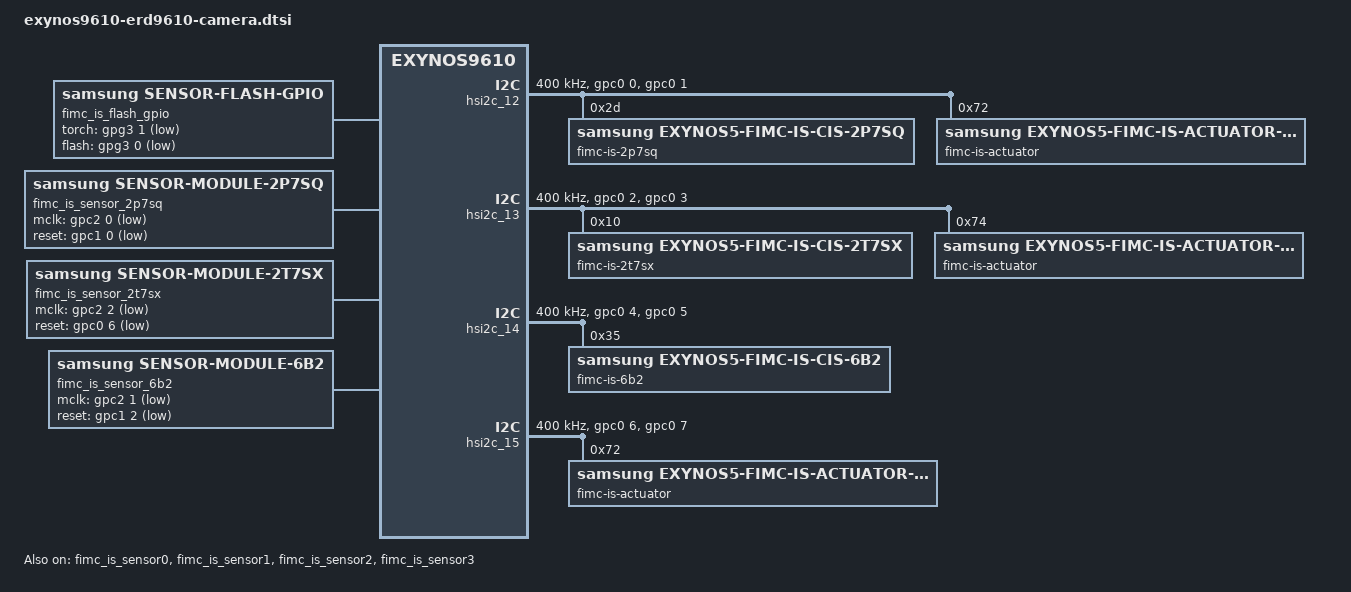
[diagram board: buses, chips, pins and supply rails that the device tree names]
/*
 * SAMSUNG EXYNOS9610 board camera device tree source
 *
 * Copyright (c) 2018 Samsung Electronics Co., Ltd.
 *		http://www.samsung.com
 *
 * This program is free software; you can redistribute it and/or modify
 * it under the terms of the GNU General Public License version 2 as
 * published by the Free Software Foundation.
 */

#include <dt-bindings/camera/fimc_is.h>

/ {
	fragment@camera {
		target-path = "/";
		__overlay__ {
			fimc_is_flash_gpio: fimc-is-flash-gpio@0 {
				compatible = "samsung,sensor-flash-gpio";
				id = <0>;
				status = "okay";

				torch-gpio = <&gpg3 1 0x1>;
				flash-gpio = <&gpg3 0 0x1>;
			};

			fimc_is_sensor_2p7sq: fimc-is_sensor_2p7sq@47 {
				compatible = "samsung,sensor-module-2p7sq";

				pinctrl-names = "pin0", "pin1", "pin2", "release";
				pinctrl-0 = <>;
				pinctrl-1 = <&fimc_is_mclk0_out>;
				pinctrl-2 = <&fimc_is_mclk0_fn>;
				pinctrl-3 = <>;

				position = <0>;	/* Rear:0. Front:1. Rear_sub:2. Secure:3. */
				id = <0>; /* fimc_is_sensor id */
				mclk_ch = <0>;
				sensor_i2c_ch = <0>; /* SENSOR_CONTROL_I2C0 */

				gpio_mclk = <&gpc2 0 0x1>;
				gpio_reset = <&gpc1 0 0x1>; /* sensor reset */

				power_seq_id = <1>; /* Rumba S6 Compatible */

				status = "okay";

				af {
					product_name = <20>; /* ACTUATOR_NAME_LC898217 */
					i2c_ch = <0>; /* SENSOR_CONTROL_I2C0 */
				};

				flash {
					product_name = <11>; /* FLASH_GPIO */
				};
			};

			fimc_is_sensor_2t7sx: fimc-is_sensor_2t7sx@48 {
				compatible = "samsung,sensor-module-2t7sx";

				pinctrl-names = "pin0", "pin1", "pin2", "release";
				pinctrl-0 = <>;
				pinctrl-1 = <&fimc_is_mclk2_out>;
				pinctrl-2 = <&fimc_is_mclk2_fn>;
				pinctrl-3 = <>;

				position = <2>;	/* Rear:0. Front:1. Rear_sub:2. Secure:3. */
				id = <2>; /* fimc_is_sensor id */
				mclk_ch = <2>;
				sensor_i2c_ch = <1>; /* SENSOR_CONTROL_I2C1 */

				gpio_mclk = <&gpc2 2 0x1>;
				gpio_reset = <&gpc0 6 0x1>; /* sensor reset */

				power_seq_id = <1>; /* Rumba S6 Compatible */

				status = "okay";

				af {
					product_name = <20>; /* ACTUATOR_NAME_LC898217 */
					i2c_ch = <1>; /* SENSOR_CONTROL_I2C1 */
				};

				flash {
					product_name = <11>; /* FLASH_GPIO */
				};
			};

			/* FRONT CAMERA */
			fimc_is_sensor_6b2: fimc-is_sensor_6b2@7 {
				compatible = "samsung,sensor-module-6b2";

				pinctrl-names = "pin0", "pin1", "pin2", "release";
				pinctrl-0 = <>;
				pinctrl-1 = <&fimc_is_mclk1_out>;
				pinctrl-2 = <&fimc_is_mclk1_fn>;
				pinctrl-3 = <>;

				position = <1>;	/* Rear:0. Front:1. Rear_sub:2. Secure:3. */
				id = <1>; /* fimc_is_sensor id */
				mclk_ch = <1>;
				sensor_i2c_ch = <2>; /* SENSOR_CONTROL_I2C4 */

				gpio_mclk = <&gpc2 1 0x1>;
				gpio_reset = <&gpc1 2 0x1>; /* sensor reset */
				status = "okay";

				af {
					product_name = <100>; /* NOTHING */
					i2c_ch = <2>; /* SENSOR_CONTROL_I2C2 */
				};

				flash {
					product_name = <100>; /* NOTHING */
				};

				ois {
					product_name = <100>; /* NOTHING */
				};

				internal_vc {
					/* DUMMY */
				};
			};
		}; /* end of __overlay__ */
	}; /* end of fragment */
}; /* end of root */

/***** reference symbol node *****/

&fimc_is {
	vender {
		rear_sensor_id = <47>; /* 46: RPB, 20: 2P8, 47: 2P7SQ */
		front_sensor_id = <7>; /* 6B2 */
		rear_second_sensor_id = <48>; /* 48: 2T7SX  */
		secure_sensor_id = <22>; /* 5E2 */
	};

	fimc_is_dvfs {
		#define DVFS_INT_CAM_L0 690000
		#define DVFS_INT_CAM_L1 680000
		#define DVFS_INT_CAM_L2 670000
		#define DVFS_INT_CAM_L3 660000
		#define DVFS_INT_CAM_L4 650000

		#define DVFS_INT_L0 667000
		#define DVFS_INT_L1 533000
		#define DVFS_INT_L2 400000
		#define DVFS_INT_L3 200000
		#define DVFS_INT_L4 100000

		#define DVFS_CAM_L0 690000
		#define DVFS_CAM_L1 680000
		#define DVFS_CAM_L2 670000
		#define DVFS_CAM_L3 660000
		#define DVFS_CAM_L4 650000
		#define DVFS_CAM_L5 640000

		#define DVFS_MIF_L0 2093000
		#define DVFS_MIF_L1 2002000
		#define DVFS_MIF_L2 1794000
		#define DVFS_MIF_L3 1539000
		#define DVFS_MIF_L4 1352000
		#define DVFS_MIF_L5 1014000
		#define DVFS_MIF_L6 845000
		#define DVFS_MIF_L7 676000
		#define DVFS_MIF_L8 546000
		#define DVFS_MIF_L9 419000

		table0 {
			desc = "dvfs table v0.0 for 16M/2M";

			default_int_cam = <DVFS_INT_CAM_L0>;
			default_cam = <DVFS_CAM_L0>;
			default_mif = <DVFS_MIF_L0>;
			default_int = <DVFS_INT_L0>;
			default_hpg = <1>;

			front_preview_int_cam = <DVFS_INT_CAM_L3>;
			front_preview_cam = <DVFS_CAM_L4>;
			front_preview_mif = <DVFS_MIF_L7>;
			front_preview_int = <DVFS_INT_L0>;
			front_preview_hpg = <1>;

			front_preview_full_int_cam = <DVFS_INT_CAM_L3>;
			front_preview_full_cam = <DVFS_CAM_L4>;
			front_preview_full_mif = <DVFS_MIF_L7>;
			front_preview_full_int = <DVFS_INT_L0>;
			front_preview_full_hpg = <1>;

			front_capture_int_cam = <DVFS_INT_CAM_L3>;
			front_capture_cam = <DVFS_CAM_L4>;
			front_capture_mif = <DVFS_MIF_L7>;
			front_capture_int = <DVFS_INT_L0>;
			front_capture_hpg = <1>;

			front_video_int_cam = <DVFS_INT_CAM_L3>;
			front_video_cam = <DVFS_CAM_L4>;
			front_video_mif = <DVFS_MIF_L7>;
			front_video_int = <DVFS_INT_L0>;
			front_video_hpg = <1>;

			front_video_capture_int_cam = <DVFS_INT_CAM_L3>;
			front_video_capture_cam = <DVFS_CAM_L4>;
			front_video_capture_mif = <DVFS_MIF_L7>;
			front_video_capture_int = <DVFS_INT_L0>;
			front_video_capture_hpg = <1>;

			front_wide_selfie_int_cam = <DVFS_INT_CAM_L0>;
			front_wide_selfie_cam = <DVFS_CAM_L0>;
			front_wide_selfie_mif = <DVFS_MIF_L0>;
			front_wide_selfie_int = <DVFS_INT_L0>;
			front_wide_selfie_hpg = <1>;

			front_vt1_int_cam = <DVFS_INT_CAM_L3>;
			front_vt1_cam = <DVFS_CAM_L4>;
			front_vt1_mif = <DVFS_MIF_L7>;
			front_vt1_int = <DVFS_INT_L0>;
			front_vt1_hpg = <1>;

			front_vt2_int_cam = <DVFS_INT_CAM_L3>;
			front_vt2_cam = <DVFS_CAM_L4>;
			front_vt2_mif = <DVFS_MIF_L7>;
			front_vt2_int = <DVFS_INT_L0>;
			front_vt2_hpg = <1>;

			front_vt4_int_cam = <DVFS_INT_CAM_L3>;
			front_vt4_cam = <DVFS_CAM_L4>;
			front_vt4_mif = <DVFS_MIF_L7>;
			front_vt4_int = <DVFS_INT_L0>;
			front_vt4_hpg = <1>;

			rear2_preview_fhd_int_cam = <DVFS_INT_CAM_L3>;
			rear2_preview_fhd_cam = <DVFS_CAM_L1>;
			rear2_preview_fhd_mif = <DVFS_MIF_L5>;
			rear2_preview_fhd_int = <DVFS_INT_L0>;
			rear2_preview_fhd_hpg = <1>;

			rear2_capture_int_cam = <DVFS_INT_CAM_L2>;
			rear2_capture_cam = <DVFS_CAM_L1>;
			rear2_capture_mif = <DVFS_MIF_L3>;
			rear2_capture_int = <DVFS_INT_L0>;
			rear2_capture_hpg = <1>;

			rear2_video_fhd_int_cam = <DVFS_INT_CAM_L3>;
			rear2_video_fhd_cam = <DVFS_CAM_L1>;
			rear2_video_fhd_mif = <DVFS_MIF_L5>;
			rear2_video_fhd_int = <DVFS_INT_L0>;
			rear2_video_fhd_hpg = <1>;

			rear2_video_fhd_capture_int_cam = <DVFS_INT_CAM_L1>;
			rear2_video_fhd_capture_cam = <DVFS_CAM_L1>;
			rear2_video_fhd_capture_mif = <DVFS_MIF_L5>;
			rear2_video_fhd_capture_int = <DVFS_INT_L0>;
			rear2_video_fhd_capture_hpg = <1>;

			rear_preview_fhd_int_cam = <DVFS_INT_CAM_L3>;
			rear_preview_fhd_cam = <DVFS_CAM_L1>;
			rear_preview_fhd_mif = <DVFS_MIF_L5>;
			rear_preview_fhd_int = <DVFS_INT_L0>;
			rear_preview_fhd_hpg = <1>;

			rear_preview_hd_int_cam = <DVFS_INT_CAM_L3>;
			rear_preview_hd_cam = <DVFS_CAM_L1>;
			rear_preview_hd_mif = <DVFS_MIF_L5>;
			rear_preview_hd_int = <DVFS_INT_L0>;
			rear_preview_hd_hpg = <1>;

			rear_preview_uhd_int_cam = <DVFS_INT_CAM_L1>;
			rear_preview_uhd_cam = <DVFS_CAM_L1>;
			rear_preview_uhd_mif = <DVFS_MIF_L3>;
			rear_preview_uhd_int = <DVFS_INT_L0>;
			rear_preview_uhd_hpg = <1>;

			rear_preview_full_int_cam = <DVFS_INT_CAM_L2>;
			rear_preview_full_cam = <DVFS_CAM_L1>;
			rear_preview_full_mif = <DVFS_MIF_L4>;
			rear_preview_full_int = <DVFS_INT_L0>;
			rear_preview_full_hpg = <1>;

			rear_capture_int_cam = <DVFS_INT_CAM_L0>;
			rear_capture_cam = <DVFS_CAM_L1>;
			rear_capture_mif = <DVFS_MIF_L3>;
			rear_capture_int = <DVFS_INT_L0>;
			rear_capture_hpg = <1>;

			rear_video_fhd_int_cam = <DVFS_INT_CAM_L3>;
			rear_video_fhd_cam = <DVFS_CAM_L1>;
			rear_video_fhd_mif = <DVFS_MIF_L5>;
			rear_video_fhd_int = <DVFS_INT_L0>;
			rear_video_fhd_hpg = <1>;

			rear_video_hd_int_cam = <DVFS_INT_CAM_L3>;
			rear_video_hd_cam = <DVFS_CAM_L1>;
			rear_video_hd_mif = <DVFS_MIF_L6>;
			rear_video_hd_int = <DVFS_INT_L0>;
			rear_video_hd_hpg = <1>;

			rear_video_uhd_int_cam = <DVFS_INT_CAM_L1>;
			rear_video_uhd_cam = <DVFS_CAM_L1>;
			rear_video_uhd_mif = <DVFS_MIF_L3>;
			rear_video_uhd_int = <DVFS_INT_L0>;
			rear_video_uhd_hpg = <1>;

			rear_video_fhd_capture_int_cam = <DVFS_INT_CAM_L1>;
			rear_video_fhd_capture_cam = <DVFS_CAM_L1>;
			rear_video_fhd_capture_mif = <DVFS_MIF_L5>;
			rear_video_fhd_capture_int = <DVFS_INT_L0>;
			rear_video_fhd_capture_hpg = <1>;

			rear_video_hd_capture_int_cam = <DVFS_INT_CAM_L1>;
			rear_video_hd_capture_cam = <DVFS_CAM_L1>;
			rear_video_hd_capture_mif = <DVFS_MIF_L5>;
			rear_video_hd_capture_int = <DVFS_INT_L0>;
			rear_video_hd_capture_hpg = <1>;

			rear_video_uhd_capture_int_cam = <DVFS_INT_CAM_L0>;
			rear_video_uhd_capture_cam = <DVFS_CAM_L0>;
			rear_video_uhd_capture_mif = <DVFS_MIF_L0>;
			rear_video_uhd_capture_int = <DVFS_INT_L0>;
			rear_video_uhd_capture_hpg = <1>;

			dual_preview_int_cam = <DVFS_INT_CAM_L0>;
			dual_preview_cam = <DVFS_CAM_L0>;
			dual_preview_mif = <DVFS_MIF_L0>;
			dual_preview_int = <DVFS_INT_L0>;
			dual_preview_hpg = <1>;

			dual_capture_int_cam = <DVFS_INT_CAM_L0>;
			dual_capture_cam = <DVFS_CAM_L0>;
			dual_capture_mif = <DVFS_MIF_L0>;
			dual_capture_int = <DVFS_INT_L0>;
			dual_capture_hpg = <1>;

			dual_video_fhd_int_cam = <DVFS_INT_CAM_L0>;
			dual_video_fhd_cam = <DVFS_CAM_L0>;
			dual_video_fhd_mif = <DVFS_MIF_L0>;
			dual_video_fhd_int = <DVFS_INT_L0>;
			dual_video_fhd_hpg = <1>;

			dual_video_fhd_capture_int_cam = <DVFS_INT_CAM_L0>;
			dual_video_fhd_capture_cam = <DVFS_CAM_L0>;
			dual_video_fhd_capture_mif = <DVFS_MIF_L0>;
			dual_video_fhd_capture_int = <DVFS_INT_L0>;
			dual_video_fhd_capture_hpg = <1>;

			dual_video_uhd_int_cam = <DVFS_INT_CAM_L0>;
			dual_video_uhd_cam = <DVFS_CAM_L0>;
			dual_video_uhd_mif = <DVFS_MIF_L0>;
			dual_video_uhd_int = <DVFS_INT_L0>;
			dual_video_uhd_hpg = <1>;

			dual_video_uhd_capture_int_cam = <DVFS_INT_CAM_L0>;
			dual_video_uhd_capture_cam = <DVFS_CAM_L0>;
			dual_video_uhd_capture_mif = <DVFS_MIF_L0>;
			dual_video_uhd_capture_int = <DVFS_INT_L0>;
			dual_video_uhd_capture_hpg = <1>;

			dual_sync_preview_int_cam = <DVFS_INT_CAM_L0>;
			dual_sync_preview_cam = <DVFS_CAM_L0>;
			dual_sync_preview_mif = <DVFS_MIF_L0>;
			dual_sync_preview_int = <DVFS_INT_L0>;
			dual_sync_preview_hpg = <1>;

			dual_sync_capture_int_cam = <DVFS_INT_CAM_L0>;
			dual_sync_capture_cam = <DVFS_CAM_L0>;
			dual_sync_capture_mif = <DVFS_MIF_L0>;
			dual_sync_capture_int = <DVFS_INT_L0>;
			dual_sync_capture_hpg = <1>;

			dual_sync_preview_whd_int_cam = <DVFS_INT_CAM_L0>;
			dual_sync_preview_whd_cam = <DVFS_CAM_L0>;
			dual_sync_preview_whd_mif = <DVFS_MIF_L0>;
			dual_sync_preview_whd_int = <DVFS_INT_L0>;
			dual_sync_preview_whd_hpg = <1>;

			dual_sync_whd_capture_int_cam = <DVFS_INT_CAM_L0>;
			dual_sync_whd_capture_cam = <DVFS_CAM_L0>;
			dual_sync_whd_capture_mif = <DVFS_MIF_L0>;
			dual_sync_whd_capture_int = <DVFS_INT_L0>;
			dual_sync_whd_capture_hpg = <1>;

			dual_sync_video_fhd_int_cam = <DVFS_INT_CAM_L0>;
			dual_sync_video_fhd_cam = <DVFS_CAM_L0>;
			dual_sync_video_fhd_mif = <DVFS_MIF_L0>;
			dual_sync_video_fhd_int = <DVFS_INT_L0>;
			dual_sync_video_fhd_hpg = <1>;

			dual_sync_video_fhd_capture_int_cam = <DVFS_INT_CAM_L0>;
			dual_sync_video_fhd_capture_cam = <DVFS_CAM_L0>;
			dual_sync_video_fhd_capture_mif = <DVFS_MIF_L0>;
			dual_sync_video_fhd_capture_int = <DVFS_INT_L0>;
			dual_sync_video_fhd_capture_hpg = <1>;

			dual_sync_video_uhd_int_cam = <DVFS_INT_CAM_L0>;
			dual_sync_video_uhd_cam = <DVFS_CAM_L0>;
			dual_sync_video_uhd_mif = <DVFS_MIF_L0>;
			dual_sync_video_uhd_int = <DVFS_INT_L0>;
			dual_sync_video_uhd_hpg = <1>;

			dual_sync_video_uhd_capture_int_cam = <DVFS_INT_CAM_L0>;
			dual_sync_video_uhd_capture_cam = <DVFS_CAM_L0>;
			dual_sync_video_uhd_capture_mif = <DVFS_MIF_L0>;
			dual_sync_video_uhd_capture_int = <DVFS_INT_L0>;
			dual_sync_video_uhd_capture_hpg = <1>;

			pip_preview_int_cam = <DVFS_INT_CAM_L0>;
			pip_preview_cam = <DVFS_CAM_L0>;
			pip_preview_mif = <DVFS_MIF_L0>;
			pip_preview_int = <DVFS_INT_L0>;
			pip_preview_hpg = <1>;

			pip_capture_int_cam = <DVFS_INT_CAM_L0>;
			pip_capture_cam = <DVFS_CAM_L0>;
			pip_capture_mif = <DVFS_MIF_L0>;
			pip_capture_int = <DVFS_INT_L0>;
			pip_capture_hpg = <1>;

			secure_front_int_cam = <DVFS_INT_CAM_L0>;
			secure_front_cam = <DVFS_CAM_L0>;
			secure_front_mif = <DVFS_MIF_L0>;
			secure_front_int = <DVFS_INT_L0>;
			secure_front_hpg = <1>;

			preview_high_speed_fps_int_cam = <DVFS_INT_CAM_L1>;
			preview_high_speed_fps_cam = <DVFS_CAM_L3>;
			preview_high_speed_fps_mif = <DVFS_MIF_L5>;
			preview_high_speed_fps_int = <DVFS_INT_L0>;
			preview_high_speed_fps_hpg = <1>;

			video_high_speed_60fps_int_cam = <DVFS_INT_CAM_L3>;
			video_high_speed_60fps_cam = <DVFS_CAM_L1>;
			video_high_speed_60fps_mif = <DVFS_MIF_L5>;
			video_high_speed_60fps_int = <DVFS_INT_L0>;
			video_high_speed_60fps_hpg = <1>;

			video_high_speed_120fps_int_cam = <DVFS_INT_CAM_L3>;
			video_high_speed_120fps_cam = <DVFS_CAM_L3>;
			video_high_speed_120fps_mif = <DVFS_MIF_L3>;
			video_high_speed_120fps_int = <DVFS_INT_L0>;
			video_high_speed_120fps_hpg = <1>;

			video_high_speed_480fps_int_cam = <DVFS_INT_CAM_L0>;
			video_high_speed_480fps_cam = <DVFS_CAM_L0>;
			video_high_speed_480fps_mif = <DVFS_MIF_L2>;
			video_high_speed_480fps_int = <DVFS_INT_L0>;
			video_high_speed_480fps_hpg = <1>;

			video_high_speed_60fps_capture_int_cam = <DVFS_INT_CAM_L0>;
			video_high_speed_60fps_capture_cam = <DVFS_CAM_L0>;
			video_high_speed_60fps_capture_mif = <DVFS_MIF_L0>;
			video_high_speed_60fps_capture_int = <DVFS_INT_L0>;
			video_high_speed_60fps_capture_hpg = <1>;

			ext_front_int_cam = <DVFS_INT_CAM_L0>;
			ext_front_cam = <DVFS_CAM_L0>;
			ext_front_mif = <DVFS_MIF_L0>;
			ext_front_int = <DVFS_INT_L0>;
			ext_front_hpg = <1>;

			ext_secure_int_cam = <DVFS_INT_CAM_L3>;
			ext_secure_cam = <DVFS_CAM_L4>;
			ext_secure_mif = <DVFS_MIF_L7>;
			ext_secure_int = <DVFS_INT_L4>;
			ext_secure_hpg = <1>;

			max_int_cam = <DVFS_INT_CAM_L0>;
			max_cam = <DVFS_CAM_L0>;
			max_mif = <DVFS_MIF_L0>;
			max_int = <DVFS_INT_L0>;
			max_hpg = <1>;
		};
	};
};

/* I2C_CAM0 */ /* SENSOR_CONTROL_I2C0 */
&hsi2c_12 {
	gpios = <&gpc0 0 0 &gpc0 1 0>;
	status = "okay";
	clock-frequency = <400000>;
	samsung,reset-before-trans;
	samsung,polling-mode;
	#address-cells = <1>;
	#size-cells = <0>;
	fimc-is-2p7sq@2d {
		compatible = "samsung,exynos5-fimc-is-cis-2p7sq";
		reg = <0x2d>; /* 1 bit right shift */
		id = <0>; /* matching fimc_is_sensor id */
		setfile = "setA";
		use_initial_ae; /* for initial AE */
	};

	fimc-is-actuator@72 {
		compatible = "samsung,exynos5-fimc-is-actuator-lc898217";
		reg = <0x72>; /* 1 bit right shift */
		id = <0>; /* matching fimc_is_sensor id */
		place = <0>;
	};
};

/* I2C_CAM1 */ /* SENSOR_CONTROL_I2C1 */
&hsi2c_13 {
	gpios = <&gpc0 2 0 &gpc0 3 0>;
	status = "okay";
	clock-frequency = <400000>;
	samsung,reset-before-trans;
	samsung,polling-mode;

	#address-cells = <1>;
	#size-cells = <0>;
	fimc-is-2t7sx@10 {
		compatible = "samsung,exynos5-fimc-is-cis-2t7sx";
		reg = <0x10>; /* 1 bit right shift */
		id = <2>; /* matching fimc_is_sensor id */
		setfile = "setA";
		use_initial_ae; /* for initial AE */
	};

	fimc-is-actuator@74 {
		compatible = "samsung,exynos5-fimc-is-actuator-lc898217";
		reg = <0x74>; /* 1 bit right shift */
		id = <2>; /* matching fimc_is_sensor id */
		place = <1>; /* HACK */
	};
};

/* I2C_CAM2 */ /* SENSOR_CONTROL_I2C2 */
&hsi2c_14 {
	gpios = <&gpc0 4 0 &gpc0 5 0>;
	status = "okay";
	clock-frequency = <400000>;
	samsung,reset-before-trans;

	#address-cells = <1>;
	#size-cells = <0>;
	fimc-is-6b2@35 {
		compatible = "samsung,exynos5-fimc-is-cis-6b2";
		reg = <0x35>; /* 1 bit right shift */
		id = <1>; /* matching fimc_is_sensor id */
		setfile = "setA";
		use_initial_ae; /* for initial AE */
	};
};

/* I2C_CAM3 */ /* SENSOR_CONTROL_I2C3 */
&hsi2c_15 {
	gpios = <&gpc0 6 0 &gpc0 7 0>;
	status = "okay";
	clock-frequency = <400000>;
	samsung,reset-before-trans;

	#address-cells = <1>;
	#size-cells = <0>;
	fimc-is-actuator@72 {
		compatible = "samsung,exynos5-fimc-is-actuator-dw9780";
		reg = <0x72>; /* 1 bit right shift */
		id = <0>; /* matching fimc_is_sensor id */
		place = <1>; /* HACK */
	};
};

&fimc_is_sensor0 {
	scenario = <SENSOR_SCENARIO_NORMAL>;	/* Normal, Vision, OIS etc */
	id = <0>;
	csi_ch = <0>;
	dma_ch = <0 0 0 0 0 1 1 1>;
	vc_ch = <0 1 2 3 0 1 2 3>;
	flite_ch = <FLITE_ID_NOTHING>;
	is_bns = <0>;
	/* use_ssvc1_internal; */
	/* use_ssvc2_internal; */
	status = "okay";
};

&fimc_is_sensor1 {
	scenario = <SENSOR_SCENARIO_NORMAL>;	/* Normal, Vision, OIS etc */
	id = <1>;
	csi_ch = <1>;
	dma_ch = <1 1 1 1 1 1 1 1>;
	vc_ch = <0 1 2 3 0 1 2 3>;
	flite_ch = <FLITE_ID_NOTHING>;
	is_bns = <0>;
	status = "okay";
};

&fimc_is_sensor2 {
	scenario = <SENSOR_SCENARIO_NORMAL>;	/* Normal, Vision, OIS etc */
	id = <2>;
	csi_ch = <2>;
	dma_ch = <2 2 2 2>;
	vc_ch = <0 1 2 3>;
	flite_ch = <FLITE_ID_NOTHING>;
	is_bns = <0>;
	status = "okay";
};

&fimc_is_sensor3 {
	scenario = <SENSOR_SCENARIO_SECURE>;	/* Normal, Vision, OIS etc */
	id = <3>;
	csi_ch = <3>;
	dma_ch = <3 3 3 3>;
	vc_ch = <0 1 2 3>;
	flite_ch = <FLITE_ID_NOTHING>;
	is_bns = <0>;
	status = "okay";
};
